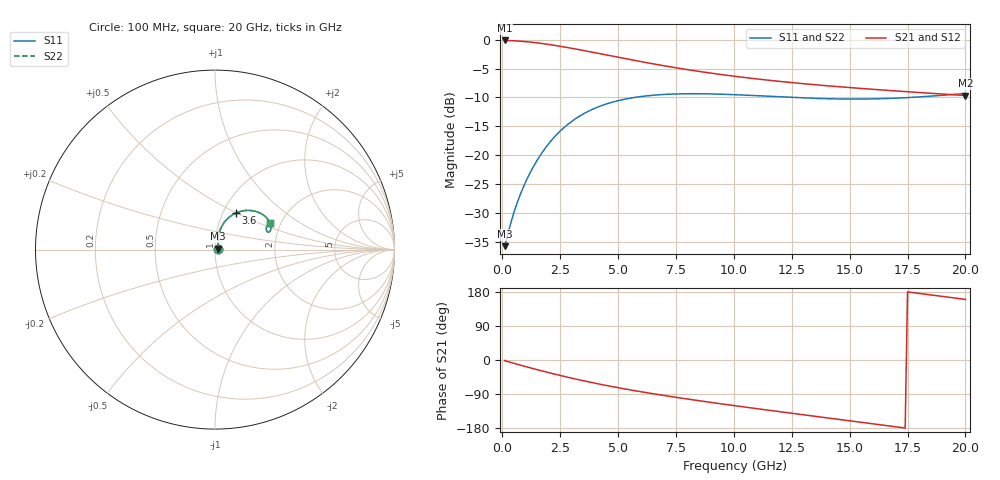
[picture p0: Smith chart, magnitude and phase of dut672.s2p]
! Touchstone file exported from HFSS 2024.1.0
!  File:  C:/UserFiles/LocalFiles/RDL_TSV_Batchsim/temp_RDL_TSV_672_1779814499.aedt
!  Generated:  01:11:37 AM May 27, 2026
!  Design:  RDL_TSV
!  Project:  temp_RDL_TSV_672_1779814499
!  Setup:  Setup1
!  Solution:  Sweep
! Variables:
!  dtsv = 6.7um
!  hbump = 3um
!  htsv = 98.65um
!  ldown = 678.07um
!  lrdl = 147.16um
!  p = 40
!  p1 = 56.18um
!  rhole = 10um
!  subl = 2622.85um
!  t = 450um
!  tdown = 4.66um
!  trdl = 3.27um
!  viad = 10um
!  wdown = 16.48um
!  wrdl = 15.17um
!  xbump = 18um
# GHz S MA R 50.000000
! Terminal data exported
! Port[1] = TM1_1_T1
! Port[2] = TM1_4_T1
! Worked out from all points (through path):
!   200 points, 100 MHz to 20 GHz, reference 50 ohm
!   highest |S21| = -0.14 dB at 100 MHz (marker M1); lowest = -9.7 dB at 20 GHz (marker M2)
!   group delay of S21, straight-line fit = 25.9 ps
!   lowest |S11| = -35.8 dB at 100 MHz (marker M3), VSWR 1.03, Z = 51.5 + j0.588 ohm
!   |S11| at or under -10 dB: start of sweep to 5.717 GHz; 12.5 GHz to 17.64 GHz (5.136 GHz wide, 34.1 % of centre)
!   |S22| runs from -35.8 to -9.3 dB; largest |S21 - S12| = 8.6e-15
!   S11 on the Smith chart (normalised r, x): 100 MHz: 1.03, +0.01; 3.6 GHz: 1.15, +0.49; 20 GHz: 1.76, +0.60
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0.1  0.0163 20.5  0.9845 -1.8  0.9845 -1.8  0.0163 20.5
! Gamma 0 0 0 0
! Port Impedance 50 0 50 0
0.4  0.02727 53.4  0.9801 -7.0  0.9801 -7.0  0.02727 53.4
0.7  0.04154 66.2  0.9726 -12.2  0.9726 -12.2  0.04154 66.2
1.1  0.0641 73.7  0.9579 -18.9  0.9579 -18.9  0.06409 73.7
1.5  0.09009 75.9  0.9385 -25.4  0.9385 -25.4  0.09008 75.9
1.9  0.1183 75.1  0.9155 -31.8  0.9155 -31.8  0.1183 75.1
2.4  0.1545 71.9  0.8833 -39.4  0.8833 -39.4  0.1545 71.9
2.9  0.1896 67.4  0.8489 -46.6  0.8489 -46.6  0.1896 67.5
3.5  0.2276 61.5  0.8064 -54.8  0.8064 -54.8  0.2277 61.5
3.6  0.2334 60.5  0.7993 -56.1  0.7993 -56.1  0.2335 60.5
4.3  0.2691 53.6  0.7506 -64.9  0.7506 -64.9  0.2692 53.6
5.2  0.3027 45.5  0.6919 -75.3  0.6919 -75.3  0.3028 45.6
6  0.3221 39.3  0.6449 -83.9  0.6449 -83.9  0.3223 39.4
6.8  0.3337 34.1  0.6032 -91.9  0.6032 -91.9  0.3339 34.1
8.3  0.3405 26.4  0.5385 -105.7  0.5385 -105.7  0.3408 26.5
10.1  0.3336 20.8  0.4801 -121.1  0.4801 -121.1  0.3338 20.8
11.7  0.322 18.5  0.4412 -134.1  0.4412 -134.1  0.3222 18.5
13.4  0.3108 18.4  0.4091 -147.7  0.4091 -147.7  0.311 18.4
15  0.306 20.1  0.3848 -160.4  0.3848 -160.4  0.3062 20.1
16.7  0.3099 22.7  0.3632 -173.9  0.3632 -173.9  0.31 22.7
18.3  0.3223 24.8  0.3455 173.4  0.3455 173.4  0.3224 24.9
20  0.3422 26.0  0.3285 159.9  0.3285 159.9  0.3423 26.1
